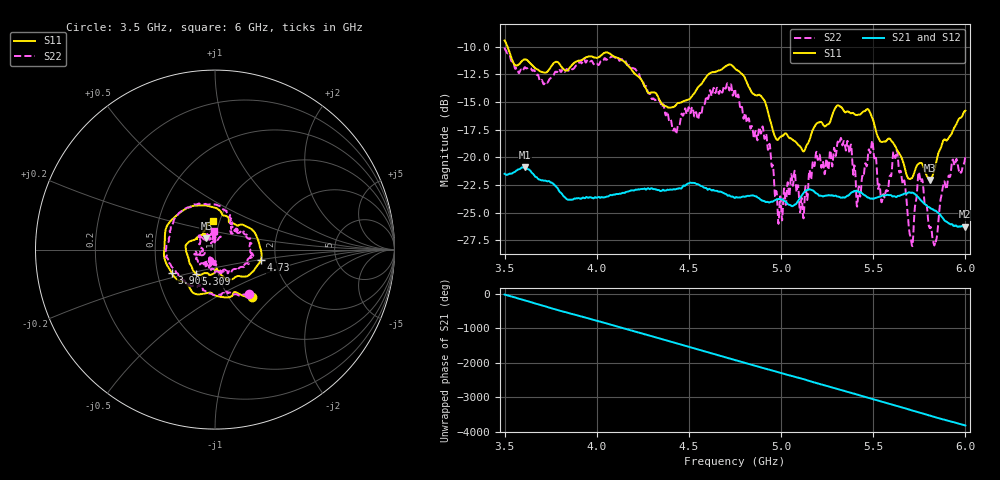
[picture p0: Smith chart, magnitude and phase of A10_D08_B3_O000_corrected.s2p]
! Created with skrf 1.9.0 (http://scikit-rf.org).
# Hz S RI R 50.0
!freq ReS11 ImS11 ReS21 ImS21 ReS12 ImS12 ReS22 ImS22
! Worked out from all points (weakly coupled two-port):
!   1601 points, 3.5 GHz to 6 GHz, reference 50 ohm
!   highest |S21| = -20.89 dB at 3.609 GHz (marker M1); lowest = -26.3 dB at 5.997 GHz (marker M2)
!   lowest |S11| = -22.0 dB at 5.808 GHz (marker M3), VSWR 1.17, Z = 45.1 + j5.72 ohm
!   |S11| at or under -10 dB: 3.516 GHz to end of sweep
!   |S22| runs from -28.0 to -10.1 dB; largest |S21 - S12| = 0.0012
!   S11 on the Smith chart (normalised r, x): 3.5 GHz: 1.27, -0.76; 3.909 GHz: 0.59, -0.17; 4.73 GHz: 1.67, -0.21; 5.309 GHz: 0.78, -0.22; 6 GHz: 0.93, +0.31
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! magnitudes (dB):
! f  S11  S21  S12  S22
! 3.5 GHz  -9.4  -21.5  -21.5  -10.1
! 3.609 GHz  -11.2  -20.9  -20.9  -11.9
! 3.909 GHz  -11.2  -23.7  -23.7  -11.3
! 3.917 GHz  -11.2  -23.7  -23.7  -11.5
! 4.334 GHz  -14.6  -22.9  -22.9  -14.8
! 4.423 GHz  -15.4  -22.9  -22.9  -17.4
! 4.73 GHz  -11.7  -23.5  -23.5  -13.5
! 4.75 GHz  -12.0  -23.7  -23.6  -13.8
! 4.911 GHz  -14.9  -24.0  -23.9  -18.3
! 4.994 GHz  -18.2  -23.8  -23.7  -23.8
! 5.167 GHz  -17.7  -23.0  -22.9  -21.3
! 5.309 GHz  -15.3  -23.5  -23.5  -18.6
! 5.42 GHz  -16.1  -23.1  -23.1  -22.7
! 5.487 GHz  -16.1  -23.7  -23.7  -19.3
! 5.539 GHz  -18.6  -23.5  -23.5  -23.2
! 5.584 GHz  -18.3  -23.4  -23.4  -22.3
! 5.623 GHz  -19.1  -23.6  -23.6  -19.8
! 5.706 GHz  -21.9  -23.2  -23.2  -27.5
! 5.756 GHz  -20.5  -23.8  -23.8  -22.2
! 5.808 GHz  -22.0  -24.6  -24.5  -26.3
! 5.997 GHz  -15.8  -26.3  -26.2  -20.2
! 6 GHz  -15.8  -26.3  -26.2  -19.8
